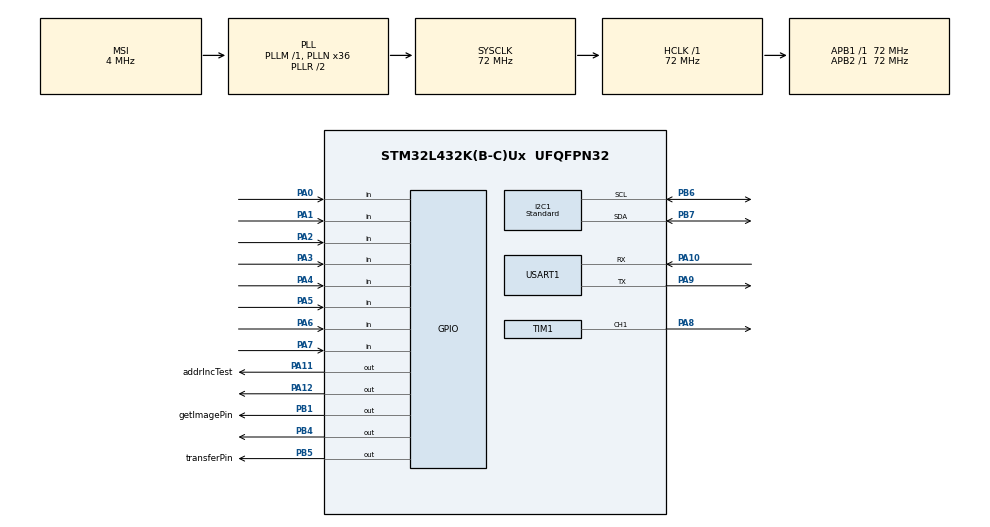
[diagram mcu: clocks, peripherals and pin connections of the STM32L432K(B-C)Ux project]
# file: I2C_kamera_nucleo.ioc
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Mcu.Family=STM32L4
PA2.GPIO_PuPd=GPIO_PULLDOWN
RCC.CortexFreq_Value=72000000
I2C1.I2C_Speed_Mode=I2C_Standard
PA3.GPIO_PuPd=GPIO_PULLDOWN
Dma.TIM1_CH3.0.MemInc=DMA_MINC_ENABLE
TIM1.Pulse-PWM\ Generation1\ CH1=3000
RCC.SYSCLKSource=RCC_SYSCLKSOURCE_PLLCLK
ProjectManager.StackSize=0x400
PA14\ (JTCK-SWCLK).Signal=SYS_JTCK-SWCLK
PA12.Signal=GPIO_Output
TIM1.Prescaler=1-1
PB1.GPIO_PuPd=GPIO_PULLDOWN
RCC.HCLKFreq_Value=72000000
RCC.APB2TimFreq_Value=72000000
PB6.Signal=I2C1_SCL
PB6.Mode=I2C
PA1.GPIO_PuPd=GPIO_PULLDOWN
RCC.AHBFreq_Value=72000000
RCC.HSE_VALUE=8000000
PA4.GPIO_PuPd=GPIO_PULLDOWN
PA6.GPIO_PuPd=GPIO_PULLDOWN
TIM1.Channel-PWM\ Generation1\ CH1=TIM_CHANNEL_1
PB1.GPIO_Label=getImagePin
PA5.GPIO_PuPd=GPIO_PULLDOWN
PB7.Signal=I2C1_SDA
PA8.Signal=S_TIM1_CH1
VP_TIM1_VS_ClockSourceINT.Mode=Internal
PA0.Signal=GPIO_Input
Mcu.Package=UFQFPN32
PB1.Signal=GPIO_Output
PA6.Signal=GPIO_Input
PA0.GPIO_PuPd=GPIO_PULLDOWN
PA10.Signal=USART1_RX
PB5.GPIO_Label=transferPin
RCC.APB1TimFreq_Value=72000000
TIM1.Period=6000-1
I2C1.CustomTiming=Disabled
PA13\ (JTMS-SWDIO).Signal=SYS_JTMS-SWDIO
Dma.Request0=TIM1_CH3
PA8.GPIO_Speed=GPIO_SPEED_FREQ_LOW
RCC.HSI48_VALUE=48000000
PA3.Signal=GPIO_Input
RCC.MSI_VALUE=4000000
PA14\ (JTCK-SWCLK).Mode=Serial_Wire
I2C1.Speed=100
PA10.Mode=Asynchronous
Dma.TIM1_CH3.0.Instance=DMA1_Channel7
TIM1.Channel-Output\ Compare2\ No\ Output=TIM_CHANNEL_2
Dma.TIM1_CH3.0.PeriphDataAlignment=DMA_PDATAALIGN_BYTE
PA11.GPIO_Label=addrIncTest
USART1.VirtualMode-Asynchronous=VM_ASYNC
PA9.Mode=Asynchronous
SH.S_TIM1_CH1.0=TIM1_CH1,PWM Generation1 CH1
Dma.TIM1_CH3.0.MemDataAlignment=DMA_MDATAALIGN_BYTE
ProjectManager.TargetToolchain=STM32CubeIDE
Dma.TIM1_CH3.0.PeriphInc=DMA_PINC_DISABLE
PA9.Signal=USART1_TX
I2C1.Timing=0x10808DD3
RCC.LSE_VALUE=32768
PA7.GPIO_PuPd=GPIO_PULLDOWN
PA1.Signal=GPIO_Input
PA5.Signal=GPIO_Input
TIM1.Channel-Output\ Compare3\ No\ Output=TIM_CHANNEL_3
board=custom
RCC.VCOOutputFreq_Value=144000000
RCC.APB2Freq_Value=72000000
VP_TIM1_VS_no_output3.Mode=Output Compare3 No Output
Dma.TIM1_CH3.0.Priority=DMA_PRIORITY_LOW
VP_TIM1_VS_no_output2.Mode=Output Compare2 No Output
Mcu.Name=STM32L432K(B-C)Ux
Dma.TIM1_CH3.0.Direction=DMA_PERIPH_TO_MEMORY
TIM1.OCMode_PWM-PWM\ Generation1\ CH1=TIM_OCMODE_PWM2
PA2.Signal=GPIO_Input
PA13\ (JTMS-SWDIO).Mode=Serial_Wire
PA4.Signal=GPIO_Input
RCC.SYSCLKFreq_VALUE=72000000
PB5.Signal=GPIO_Output
PB5.GPIO_PuPd=GPIO_PULLDOWN
PB7.Mode=I2C
PA11.Signal=GPIO_Output
Dma.TIM1_CH3.0.Mode=DMA_NORMAL
ProjectManager.HeapSize=0x200
RCC.HSI_VALUE=16000000
PA8.GPIO_PuPd=GPIO_PULLDOWN
NVIC.PriorityGroup=NVIC_PRIORITYGROUP_4
RCC.PLLN=36
NVIC.DMA1_Channel7_IRQn=true\:0\:0\:false\:false\:true\:false\:true
RCC.APB1Freq_Value=72000000
PA7.Signal=GPIO_Input
PB4\ (NJTRST).Signal=GPIO_Output

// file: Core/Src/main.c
/* USER CODE BEGIN Header */
/**
 ******************************************************************************
 * @file           : main.c
 * @brief          : Main program body
 ******************************************************************************
 * @attention
 *
 * <h2><center>&copy; Copyright (c) 2021 STMicroelectronics.
 * All rights reserved.</center></h2>
 *
 * This software component is licensed by ST under BSD 3-Clause license,
 * the "License"; You may not use this file except in compliance with the
 * License. You may obtain a copy of the License at:
 *                        opensource.org/licenses/BSD-3-Clause
 *
 ******************************************************************************
 */
/* USER CODE END Header */
#include "main.h"

/* USER CODE BEGIN Includes */
#include "camera.h"
/* USER CODE END Includes */

I2C_HandleTypeDef hi2c1;

TIM_HandleTypeDef htim1;
DMA_HandleTypeDef hdma_tim1_ch3;

UART_HandleTypeDef huart1;

/* USER CODE BEGIN PV */
CAM_HandleTypeDef hcam;
Picture pic1;
uint8_t cameraData[650] = { 87 };

/* USER CODE END PV */

void SystemClock_Config(void);
static void MX_DMA_Init(void);
static void MX_GPIO_Init(void);
static void MX_I2C1_Init(void);
static void MX_TIM1_Init(void);
static void MX_USART1_UART_Init(void);
/* USER CODE BEGIN PFP */
void CAM_Handle_Init(CAM_HandleTypeDef *cam);
/* USER CODE END PFP */

int main(void)
{

  /* MCU Configuration--------------------------------------------------------*/

  /* Reset of all peripherals, Initializes the Flash interface and the Systick. */
  HAL_Init();

  /* Configure the system clock */
  SystemClock_Config();

  /* Initialize all configured peripherals */
  MX_DMA_Init();
  MX_GPIO_Init();
  MX_I2C1_Init();
  MX_TIM1_Init();
  MX_USART1_UART_Init();
  /* USER CODE BEGIN 2 */

	CAM_Handle_Init(&hcam);
	HAL_GPIO_WritePin(GPIOB, GPIO_PIN_5, GPIO_PIN_RESET); // Transfer pin sættes lav

	 CAM_init(&hcam);

	 int a = CAM_getReg(&hcam, 0x12);
	 int b = CAM_getReg(&hcam, 0x1E);
	 int c = CAM_getReg(&hcam, 0x13);
	 int d = CAM_getReg(&hcam, 0x3F);
	 int e = CAM_getReg(&hcam, 0x71);

	//HAL_TIM_OC_Start(&htim1, TIM_CHANNEL_2); // Random kanal for at timeren altid kører
	__HAL_TIM_ENABLE_DMA(&htim1, TIM_DMA_CC3); // DENNE LINJE GJORDE AT DMA VILLE SIT LIV
	HAL_GPIO_WritePin(GPIOB, GPIO_PIN_5, GPIO_PIN_SET); // Transfer pin sættes høj

	CAM_takePicture(&hcam);

  /* USER CODE END 2 */

  /* Infinite loop */
  /* USER CODE BEGIN WHILE */
	while (1) {

		CAM_update(&hcam);
    /* USER CODE END WHILE */

	}
}

void SystemClock_Config(void)
{
  RCC_OscInitTypeDef RCC_OscInitStruct = {0};
  RCC_ClkInitTypeDef RCC_ClkInitStruct = {0};
  RCC_PeriphCLKInitTypeDef PeriphClkInit = {0};

  /** Initializes the RCC Oscillators according to the specified parameters
  * in the RCC_OscInitTypeDef structure.
  */
  RCC_OscInitStruct.OscillatorType = RCC_OSCILLATORTYPE_MSI;
  RCC_OscInitStruct.MSIState = RCC_MSI_ON;
  RCC_OscInitStruct.MSICalibrationValue = 0;
  RCC_OscInitStruct.MSIClockRange = RCC_MSIRANGE_6;
  RCC_OscInitStruct.PLL.PLLState = RCC_PLL_ON;
  RCC_OscInitStruct.PLL.PLLSource = RCC_PLLSOURCE_MSI;
  RCC_OscInitStruct.PLL.PLLM = 1;
  RCC_OscInitStruct.PLL.PLLN = 36;
  RCC_OscInitStruct.PLL.PLLP = RCC_PLLP_DIV7;
  RCC_OscInitStruct.PLL.PLLQ = RCC_PLLQ_DIV2;
  RCC_OscInitStruct.PLL.PLLR = RCC_PLLR_DIV2;
  if (HAL_RCC_OscConfig(&RCC_OscInitStruct) != HAL_OK)
  {
    Error_Handler();
  }
  /** Initializes the CPU, AHB and APB buses clocks
  */
  RCC_ClkInitStruct.ClockType = RCC_CLOCKTYPE_HCLK|RCC_CLOCKTYPE_SYSCLK
                              |RCC_CLOCKTYPE_PCLK1|RCC_CLOCKTYPE_PCLK2;
  RCC_ClkInitStruct.SYSCLKSource = RCC_SYSCLKSOURCE_PLLCLK;
  RCC_ClkInitStruct.AHBCLKDivider = RCC_SYSCLK_DIV1;
  RCC_ClkInitStruct.APB1CLKDivider = RCC_HCLK_DIV1;
  RCC_ClkInitStruct.APB2CLKDivider = RCC_HCLK_DIV1;

  if (HAL_RCC_ClockConfig(&RCC_ClkInitStruct, FLASH_LATENCY_4) != HAL_OK)
  {
    Error_Handler();
  }
  PeriphClkInit.PeriphClockSelection = RCC_PERIPHCLK_USART1|RCC_PERIPHCLK_I2C1;
  PeriphClkInit.Usart1ClockSelection = RCC_USART1CLKSOURCE_PCLK2;
  PeriphClkInit.I2c1ClockSelection = RCC_I2C1CLKSOURCE_PCLK1;
  if (HAL_RCCEx_PeriphCLKConfig(&PeriphClkInit) != HAL_OK)
  {
    Error_Handler();
  }
  /** Configure the main internal regulator output voltage
  */
  if (HAL_PWREx_ControlVoltageScaling(PWR_REGULATOR_VOLTAGE_SCALE1) != HAL_OK)
  {
    Error_Handler();
  }
}

static void MX_I2C1_Init(void)
{

  hi2c1.Instance = I2C1;
  hi2c1.Init.Timing = 0x10808DD3;
  hi2c1.Init.OwnAddress1 = 0;
  hi2c1.Init.AddressingMode = I2C_ADDRESSINGMODE_7BIT;
  hi2c1.Init.DualAddressMode = I2C_DUALADDRESS_DISABLE;
  hi2c1.Init.OwnAddress2 = 0;
  hi2c1.Init.OwnAddress2Masks = I2C_OA2_NOMASK;
  hi2c1.Init.GeneralCallMode = I2C_GENERALCALL_DISABLE;
  hi2c1.Init.NoStretchMode = I2C_NOSTRETCH_DISABLE;
  if (HAL_I2C_Init(&hi2c1) != HAL_OK)
  {
    Error_Handler();
  }
  /** Configure Analogue filter
  */
  if (HAL_I2CEx_ConfigAnalogFilter(&hi2c1, I2C_ANALOGFILTER_ENABLE) != HAL_OK)
  {
    Error_Handler();
  }
  /** Configure Digital filter
  */
  if (HAL_I2CEx_ConfigDigitalFilter(&hi2c1, 0) != HAL_OK)
  {
    Error_Handler();
  }

}

static void MX_TIM1_Init(void)
{

  TIM_ClockConfigTypeDef sClockSourceConfig = {0};
  TIM_MasterConfigTypeDef sMasterConfig = {0};
  TIM_OC_InitTypeDef sConfigOC = {0};
  TIM_BreakDeadTimeConfigTypeDef sBreakDeadTimeConfig = {0};

  htim1.Instance = TIM1;
  htim1.Init.Prescaler = 1-1;
  htim1.Init.CounterMode = TIM_COUNTERMODE_UP;
  htim1.Init.Period = 6000-1;
  htim1.Init.ClockDivision = TIM_CLOCKDIVISION_DIV1;
  htim1.Init.RepetitionCounter = 0;
  htim1.Init.AutoReloadPreload = TIM_AUTORELOAD_PRELOAD_DISABLE;
  if (HAL_TIM_Base_Init(&htim1) != HAL_OK)
  {
    Error_Handler();
  }
  sClockSourceConfig.ClockSource = TIM_CLOCKSOURCE_INTERNAL;
  if (HAL_TIM_ConfigClockSource(&htim1, &sClockSourceConfig) != HAL_OK)
  {
    Error_Handler();
  }
  if (HAL_TIM_PWM_Init(&htim1) != HAL_OK)
  {
    Error_Handler();
  }
  if (HAL_TIM_OC_Init(&htim1) != HAL_OK)
  {
    Error_Handler();
  }
  sMasterConfig.MasterOutputTrigger = TIM_TRGO_RESET;
  sMasterConfig.MasterOutputTrigger2 = TIM_TRGO2_RESET;
  sMasterConfig.MasterSlaveMode = TIM_MASTERSLAVEMODE_DISABLE;
  if (HAL_TIMEx_MasterConfigSynchronization(&htim1, &sMasterConfig) != HAL_OK)
  {
    Error_Handler();
  }
  sConfigOC.OCMode = TIM_OCMODE_PWM2;
  sConfigOC.Pulse = 3000;
  sConfigOC.OCPolarity = TIM_OCPOLARITY_HIGH;
  sConfigOC.OCNPolarity = TIM_OCNPOLARITY_HIGH;
  sConfigOC.OCFastMode = TIM_OCFAST_DISABLE;
  sConfigOC.OCIdleState = TIM_OCIDLESTATE_RESET;
  sConfigOC.OCNIdleState = TIM_OCNIDLESTATE_RESET;
  if (HAL_TIM_PWM_ConfigChannel(&htim1, &sConfigOC, TIM_CHANNEL_1) != HAL_OK)
  {
    Error_Handler();
  }
  sConfigOC.OCMode = TIM_OCMODE_TIMING;
  sConfigOC.Pulse = 0;
  if (HAL_TIM_OC_ConfigChannel(&htim1, &sConfigOC, TIM_CHANNEL_2) != HAL_OK)
  {
    Error_Handler();
  }
  if (HAL_TIM_OC_ConfigChannel(&htim1, &sConfigOC, TIM_CHANNEL_3) != HAL_OK)
  {
    Error_Handler();
  }
  sBreakDeadTimeConfig.OffStateRunMode = TIM_OSSR_DISABLE;
  sBreakDeadTimeConfig.OffStateIDLEMode = TIM_OSSI_DISABLE;
  sBreakDeadTimeConfig.LockLevel = TIM_LOCKLEVEL_OFF;
  sBreakDeadTimeConfig.DeadTime = 0;
  sBreakDeadTimeConfig.BreakState = TIM_BREAK_DISABLE;
  sBreakDeadTimeConfig.BreakPolarity = TIM_BREAKPOLARITY_HIGH;
  sBreakDeadTimeConfig.BreakFilter = 0;
  sBreakDeadTimeConfig.Break2State = TIM_BREAK2_DISABLE;
  sBreakDeadTimeConfig.Break2Polarity = TIM_BREAK2POLARITY_HIGH;
  sBreakDeadTimeConfig.Break2Filter = 0;
  sBreakDeadTimeConfig.AutomaticOutput = TIM_AUTOMATICOUTPUT_DISABLE;
  if (HAL_TIMEx_ConfigBreakDeadTime(&htim1, &sBreakDeadTimeConfig) != HAL_OK)
  {
    Error_Handler();
  }
  HAL_TIM_MspPostInit(&htim1);

}

static void MX_USART1_UART_Init(void)
{

  huart1.Instance = USART1;
  huart1.Init.BaudRate = 115200;
  huart1.Init.WordLength = UART_WORDLENGTH_8B;
  huart1.Init.StopBits = UART_STOPBITS_1;
  huart1.Init.Parity = UART_PARITY_NONE;
  huart1.Init.Mode = UART_MODE_TX_RX;
  huart1.Init.HwFlowCtl = UART_HWCONTROL_NONE;
  huart1.Init.OverSampling = UART_OVERSAMPLING_16;
  huart1.Init.OneBitSampling = UART_ONE_BIT_SAMPLE_DISABLE;
  huart1.AdvancedInit.AdvFeatureInit = UART_ADVFEATURE_NO_INIT;
  if (HAL_UART_Init(&huart1) != HAL_OK)
  {
    Error_Handler();
  }

}

static void MX_DMA_Init(void)
{

  /* DMA controller clock enable */
  __HAL_RCC_DMA1_CLK_ENABLE();

  /* DMA interrupt init */
  /* DMA1_Channel7_IRQn interrupt configuration */
  HAL_NVIC_SetPriority(DMA1_Channel7_IRQn, 0, 0);
  HAL_NVIC_EnableIRQ(DMA1_Channel7_IRQn);

}

static void MX_GPIO_Init(void)
{
  GPIO_InitTypeDef GPIO_InitStruct = {0};

  /* GPIO Ports Clock Enable */
  __HAL_RCC_GPIOA_CLK_ENABLE();
  __HAL_RCC_GPIOB_CLK_ENABLE();

  /*Configure GPIO pin Output Level */
  HAL_GPIO_WritePin(GPIOB, getImagePin_Pin|GPIO_PIN_4|transferPin_Pin, GPIO_PIN_RESET);

  /*Configure GPIO pin Output Level */
  HAL_GPIO_WritePin(GPIOA, addrIncTest_Pin|GPIO_PIN_12, GPIO_PIN_RESET);

  /*Configure GPIO pins : PA0 PA1 PA2 PA3
                           PA4 PA5 PA6 PA7 */
  GPIO_InitStruct.Pin = GPIO_PIN_0|GPIO_PIN_1|GPIO_PIN_2|GPIO_PIN_3
                          |GPIO_PIN_4|GPIO_PIN_5|GPIO_PIN_6|GPIO_PIN_7;
  GPIO_InitStruct.Mode = GPIO_MODE_INPUT;
  GPIO_InitStruct.Pull = GPIO_PULLDOWN;
  HAL_GPIO_Init(GPIOA, &GPIO_InitStruct);

  /*Configure GPIO pins : getImagePin_Pin transferPin_Pin */
  GPIO_InitStruct.Pin = getImagePin_Pin|transferPin_Pin;
  GPIO_InitStruct.Mode = GPIO_MODE_OUTPUT_PP;
  GPIO_InitStruct.Pull = GPIO_PULLDOWN;
  GPIO_InitStruct.Speed = GPIO_SPEED_FREQ_LOW;
  HAL_GPIO_Init(GPIOB, &GPIO_InitStruct);

  /*Configure GPIO pins : addrIncTest_Pin PA12 */
  GPIO_InitStruct.Pin = addrIncTest_Pin|GPIO_PIN_12;
  GPIO_InitStruct.Mode = GPIO_MODE_OUTPUT_PP;
  GPIO_InitStruct.Pull = GPIO_NOPULL;
  GPIO_InitStruct.Speed = GPIO_SPEED_FREQ_LOW;
  HAL_GPIO_Init(GPIOA, &GPIO_InitStruct);

  /*Configure GPIO pin : PB4 */
  GPIO_InitStruct.Pin = GPIO_PIN_4;
  GPIO_InitStruct.Mode = GPIO_MODE_OUTPUT_PP;
  GPIO_InitStruct.Pull = GPIO_NOPULL;
  GPIO_InitStruct.Speed = GPIO_SPEED_FREQ_LOW;
  HAL_GPIO_Init(GPIOB, &GPIO_InitStruct);

}

/* USER CODE BEGIN 4 */
void CAM_Handle_Init(CAM_HandleTypeDef *cam) {
	cam->I2C_Address = 0x21;
	cam->destination = cameraData;
	cam->hdma = &hdma_tim1_ch3;
	cam->pic = &pic1;
	cam->requestDataTimer = &htim1;
	cam->requestDataChannel = TIM_CHANNEL_1;
	cam->DMATimer = &htim1;
	cam->DMAChannel = TIM_CHANNEL_3;
	cam->source = &(GPIOA->IDR);
	cam->status = STANDBY;
	cam->I2C_Handler = &hi2c1;

	cam->pic->x = 0;
	cam->pic->y = 0;
	cam->pic->height = 480;
	cam->pic->width = 640;

}

void transmitBuffer() {
	HAL_UART_Transmit(&huart1, cameraData, 640, HAL_MAX_DELAY);
}
/* USER CODE END 4 */

void Error_Handler(void)
{
	__disable_irq();
	while (1) {
	}
}

/************************ (C) COPYRIGHT STMicroelectronics *****END OF FILE****/
